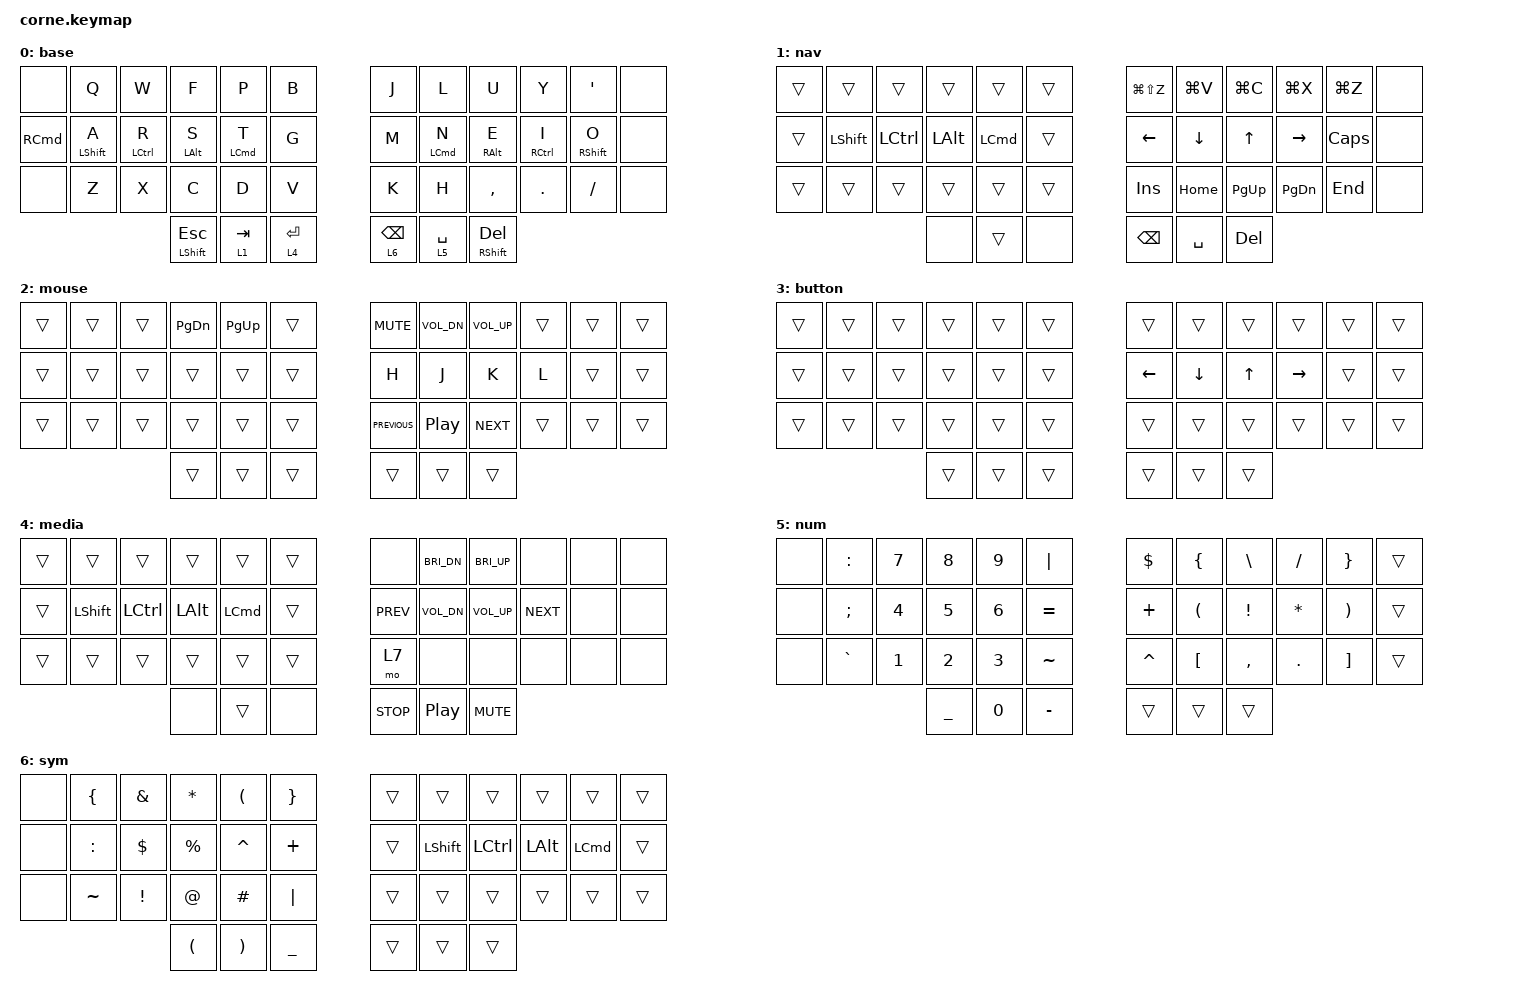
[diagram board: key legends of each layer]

/*
 * Copyright (c) 2020 The ZMK Contributors
 *
 * SPDX-License-Identifier: MIT
 */


#include <behaviors.dtsi>
#include <dt-bindings/zmk/keys.h>

/ {
    behaviors {
      hm: homerow_mods {
        compatible = "zmk,behavior-hold-tap";
        label = "HOMEROW_MODS";
        #binding-cells = <2>;
        tapping-term-ms = <250>;
        quick-tap-ms = <0>;
        flavor = "tap-preferred";
        bindings = <&kp>, <&kp>;
      };
    };

    keymap {
        compatible = "zmk,keymap";


        base {
            bindings = <
 &none    &kp Q        &kp W       &kp F	         &kp P       &kp B                &kp J         &kp L       &kp U        &kp Y       &kp APOS     &none
 &kp RCMD &hm LSHIFT A &hm LCTRL R &hm LALT S      &hm LCMD T  &kp G                &kp M         &hm LCMD N  &hm RALT E   &hm RCTRL I &hm RSHIFT O &none
 &none    &kp Z        &kp X       &kp C           &kp D       &kp V                &kp K         &kp H       &kp COMMA    &kp DOT     &kp FSLH     &none
                                   &mt LSHIFT ESC  &lt 1 TAB   &lt 4 ENTER          &lt 6 BSPC    &lt 5 SPACE &mt RSHIFT DEL
            >;
        };

        nav {
            bindings = <
 &trans  &trans      &trans    &trans   &trans   &trans               &kp LG(LS(Z)) &kp LG(V)     &kp LG(C)     &kp LG(X)     &kp LG(Z)      &none
 &trans  &kp LSHIFT  &kp LCTRL &kp LALT &kp LCMD &trans               &kp LEFT      &kp DOWN      &kp UP        &kp RIGHT     &kp CAPS       &none
 &trans  &trans      &trans    &trans   &trans   &trans               &kp INSERT    &kp HOME      &kp PAGE_UP   &kp PAGE_DOWN &kp END        &none
                               &none    &trans   &none                &kp BSPC      &kp SPACE     &kp DEL
            >;
        };

        mouse {
            bindings = <
 &trans  &trans  &trans  &kp PAGE_DOWN  &kp PAGE_UP  &trans            &kp C_MUTE      &kp C_VOL_DN     &kp C_VOL_UP  &trans    &trans &trans
 &trans  &trans  &trans  &trans         &trans       &trans            &kp H           &kp J            &kp K         &kp L     &trans &trans
 &trans  &trans  &trans  &trans         &trans       &trans            &kp C_PREVIOUS  &kp C_PLAY_PAUSE &kp C_NEXT    &trans    &trans &trans
                         &trans         &trans       &trans			       &trans          &trans           &trans
            >;
        };

        button {
            bindings = <
 &trans  &trans  &trans  &trans  &trans &trans            &trans   &trans   &trans &trans    &trans &trans
 &trans  &trans  &trans  &trans  &trans &trans            &kp LEFT &kp DOWN &kp UP &kp RIGHT &trans &trans
 &trans  &trans  &trans  &trans  &trans &trans            &trans   &trans   &trans &trans    &trans &trans
                         &trans  &trans &trans			      &trans   &trans   &trans
            >;
        };

        media {
            bindings = <
 &trans     &trans     &trans       &trans   &trans   &trans               &none      &kp C_BRI_DN &kp C_BRI_UP  &none         &none          &none
 &trans     &kp LSHIFT &kp LCTRL    &kp LALT &kp LCMD &trans               &kp C_PREV &kp C_VOL_DN &kp C_VOL_UP  &kp C_NEXT    &none          &none
 &trans     &trans     &trans       &trans   &trans   &trans               &mo 7      &none        &none         &none         &none          &none
                                    &none    &trans   &none                &kp C_STOP &kp C_PP     &kp C_MUTE
            >;
        };

        num {
            bindings = <
 &none  &kp COLON     &kp N7  &kp N8    &kp N9 &kp PIPE          &kp DLLR   &kp LBRC &kp BSLH  &kp FSLH &kp RBRC  &trans
 &none  &kp SEMICOLON &kp N4  &kp N5    &kp N6 &kp EQUAL         &kp PLUS   &kp LPAR &kp EXCL  &kp STAR &kp RPAR  &trans
 &none  &kp GRAVE     &kp N1  &kp N2    &kp N3 &kp TILDE         &kp CARET  &kp LBKT &kp COMMA &kp DOT  &kp RBKT  &trans
                              &kp UNDER &kp N0 &kp MINUS         &trans     &trans   &trans
            >;
        };

        sym {
            bindings = <
 &none  &kp LBRC      &kp AMPS &kp STAR  &kp LPAR  &kp RBRC          &trans &trans     &trans    &trans   &trans   &trans
 &none  &kp COLON     &kp DLLR &kp PRCNT &kp CARET &kp PLUS          &trans &kp LSHIFT &kp LCTRL &kp LALT &kp LCMD &trans
 &none  &kp TILDE     &kp EXCL &kp AT    &kp HASH  &kp PIPE          &trans &trans     &trans    &trans   &trans   &trans
                               &kp LPAR  &kp RPAR  &kp UNDER         &trans &trans     &trans
            >;
        };

    };
};
